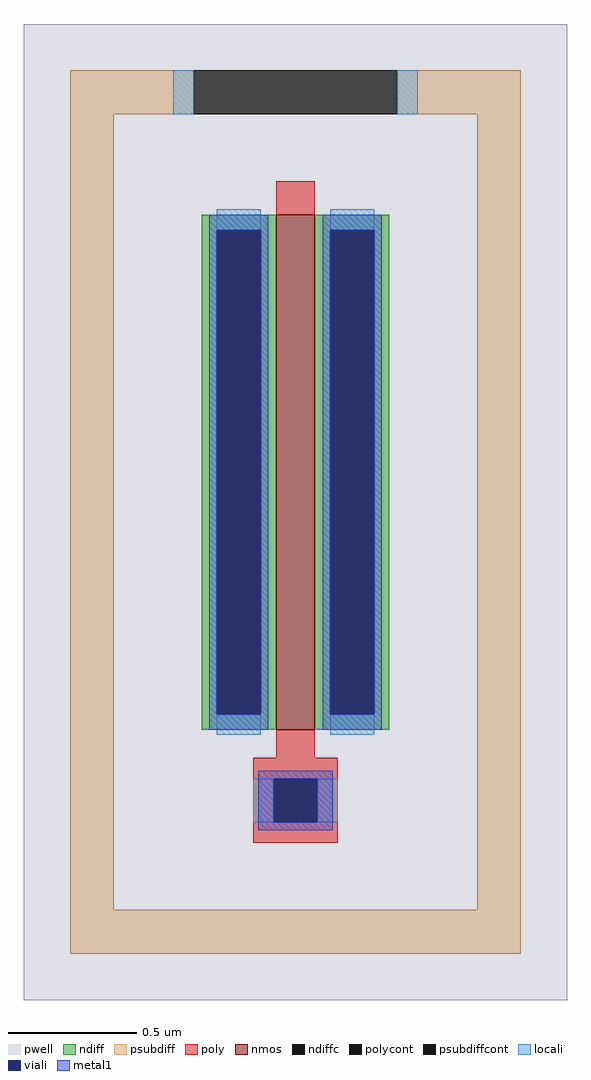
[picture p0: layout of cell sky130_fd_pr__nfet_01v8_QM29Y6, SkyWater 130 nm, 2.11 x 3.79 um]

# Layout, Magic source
magic
tech sky130A
magscale 1 2
<< pwell >>
rect -211 -379 211 379
<< nmos >>
rect -15 -169 15 231
<< ndiff >>
rect -73 219 -15 231
rect -73 -157 -61 219
rect -27 -157 -15 219
rect -73 -169 -15 -157
rect 15 219 73 231
rect 15 -157 27 219
rect 61 -157 73 219
rect 15 -169 73 -157
<< ndiffc >>
rect -61 -157 -27 219
rect 27 -157 61 219
<< psubdiff >>
rect -175 309 -79 343
rect 79 309 175 343
rect -175 -309 -141 309
rect 141 -309 175 309
rect -175 -343 175 -309
<< psubdiffcont >>
rect -79 309 79 343
<< poly >>
rect -15 231 15 257
rect -15 -191 15 -169
rect -33 -207 33 -191
rect -33 -241 -17 -207
rect 17 -241 33 -207
rect -33 -257 33 -241
<< polycont >>
rect -17 -241 17 -207
<< locali >>
rect -95 309 -79 343
rect 79 309 95 343
rect -61 219 -27 235
rect -61 -173 -27 -157
rect 27 219 61 235
rect 27 -173 61 -157
rect -33 -241 -17 -207
rect 17 -241 33 -207
<< viali >>
rect -61 -157 -27 219
rect 27 -157 61 219
rect -17 -241 17 -207
<< metal1 >>
rect -67 219 -21 231
rect -67 -157 -61 219
rect -27 -157 -21 219
rect -67 -169 -21 -157
rect 21 219 67 231
rect 21 -157 27 219
rect 61 -157 67 219
rect 21 -169 67 -157
rect -29 -207 29 -201
rect -29 -241 -17 -207
rect 17 -241 29 -207
rect -29 -247 29 -241
<< properties >>
string FIXED_BBOX -158 -326 158 326
string gencell sky130_fd_pr__nfet_01v8
string library sky130
string parameters w 2.0 l 0.15 m 1 nf 1 diffcov 100 polycov 100 guard 1 glc 0 grc 0 gtc 1 gbc 0 tbcov 100 rlcov 100 topc 0 botc 1 poverlap 0 doverlap 1 lmin 0.15 wmin 0.42 compatible {sky130_fd_pr__nfet_01v8 sky130_fd_pr__nfet_01v8_lvt  sky130_fd_bs_flash__special_sonosfet_star  sky130_fd_pr__nfet_g5v0d10v5 sky130_fd_pr__nfet_05v0_nvt  sky130_fd_pr__nfet_03v3_nvt} full_metal 0 viasrc 100 viadrn 100 viagate 100 viagb 0 viagr 0 viagl 0 viagt 0
<< end >>
